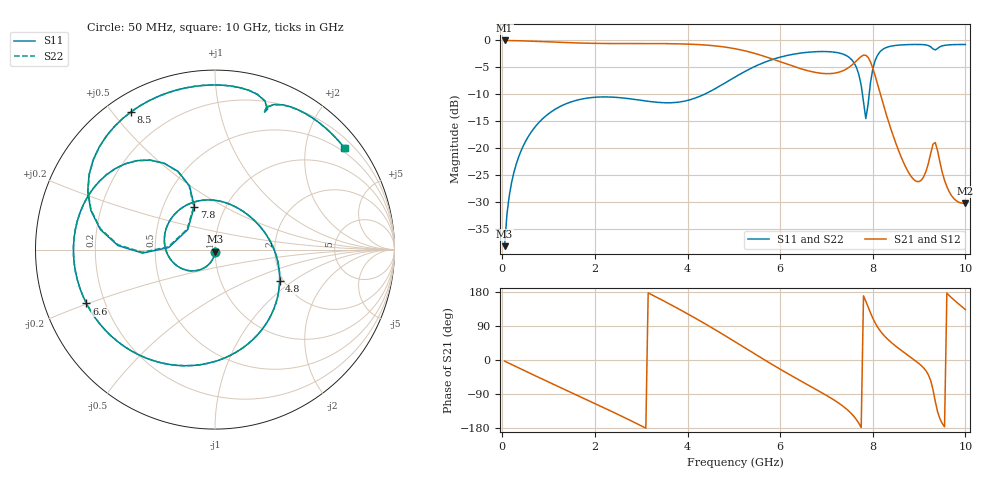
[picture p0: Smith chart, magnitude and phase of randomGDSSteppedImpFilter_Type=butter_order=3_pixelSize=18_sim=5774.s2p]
! freq	dB(S11)	phase(S11)	dB(S12)	phase(S12)
!  dB(S21)	phase(S21)	dB(S22)	phase(S22)
!S-par simulation data
#  GHz  S  DB  R 50
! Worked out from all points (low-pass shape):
!   200 points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, 50 MHz to 10 GHz, reference 50 ohm
!   highest |S21| = -0.01 dB at 50 MHz (marker M1); lowest = -30.2 dB at 10 GHz (marker M2)
!   |S21| within 3 dB of the highest: start of sweep to 5.678 GHz; 7.745 GHz to 7.881 GHz (136 MHz wide, 1.74 % of centre)
!   lowest |S11| = -38.2 dB at 50 MHz (marker M3), VSWR 1.03, Z = 49.9 - j1.23 ohm
!   |S11| at or under -10 dB: start of sweep to 4.362 GHz; 7.776 GHz to 7.923 GHz (146.5 MHz wide, 1.87 % of centre)
!   |S22| runs from -38.2 to -0.7 dB; largest |S21 - S12| = 0
!   S11 on the Smith chart (normalised r, x): 50 MHz: 1.00, -0.02; 4.8 GHz: 1.91, -0.80; 6.6 GHz: 0.13, -0.20; 7.8 GHz: 0.71, +0.37; 8.5 GHz: 0.07, +0.56; 10 GHz: 0.40, +2.85
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0.05  -38.16 -91.6  -0.01 -3.0  -0.01 -3.0  -38.16 -91.6
0.2  -26.40 -101.7  -0.03 -11.8  -0.03 -11.8  -26.40 -101.7
0.5  -18.77 -119.8  -0.10 -29.3  -0.10 -29.3  -18.77 -119.8
1.75  -10.82 168.6  -0.50 -100.7  -0.50 -100.7  -10.82 168.8
2.65  -10.72 116.7  -0.59 -152.6  -0.59 -152.6  -10.72 117.0
3.4  -11.52 70.6  -0.59 161.4  -0.59 161.4  -11.51 71.1
4.15  -10.75 20.7  -0.74 111.7  -0.74 111.7  -10.74 21.0
4.8  -7.94 -26.1  -1.22 65.0  -1.22 65.0  -7.94 -25.9
5.05  -6.67 -44.8  -1.58 46.3  -1.58 46.3  -6.67 -44.7
5.85  -3.49 -104.8  -3.51 -13.5  -3.51 -13.5  -3.49 -104.9
6.6  -2.20 -157.3  -5.63 -65.7  -5.63 -65.7  -2.20 -157.4
6.7  -2.13 -164.1  -5.83 -72.5  -5.83 -72.5  -2.13 -164.1
7.5  -3.22 136.1  -4.91 -136.8  -4.91 -136.8  -3.21 136.1
7.8  -11.49 115.7  -2.74 169.2  -2.74 169.2  -11.42 116.1
7.85  -14.50 143.7  -2.76 154.9  -2.76 154.9  -14.33 143.7
7.95  -7.88 -177.2  -3.97 124.6  -3.97 124.6  -7.84 -177.9
8.1  -2.79 162.5  -8.03 87.7  -8.03 87.7  -2.78 162.1
8.35  -1.16 133.7  -15.34 51.6  -15.34 51.6  -1.15 133.5
8.5  -0.92 121.2  -19.12 36.1  -19.12 36.1  -0.92 121.0
9  -0.75 87.8  -26.18 -9.8  -26.18 -9.8  -0.75 87.7
9.35  -1.77 70.2  -18.94 -109.5  -18.94 -109.5  -1.77 70.2
10  -0.76 38.1  -30.22 133.0  -30.22 133.0  -0.75 38.0
